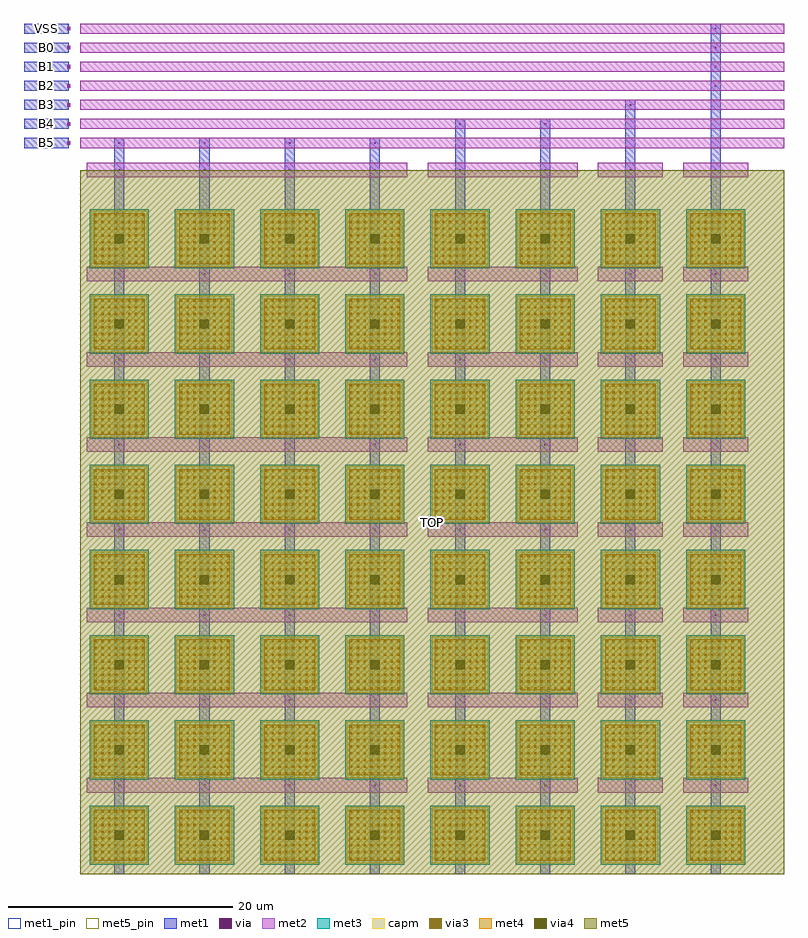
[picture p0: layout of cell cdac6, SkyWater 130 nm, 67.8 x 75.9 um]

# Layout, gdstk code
import gdstk
lib = gdstk.Library(unit=1e-6, precision=1e-09)
def R(c, l, rs):  # rectangles x0, y0, x1, y1
    for r in rs: c.add(gdstk.rectangle(r[:2], r[2:], *l))
def A(c, l, x, y, w, h, nx, ny, dx, dy):  # array of equal rectangles
    R(c, l, [(x+i*dx, y+j*dy, x+i*dx+w, y+j*dy+h) for i in range(nx) for j in range(ny)])
met1_pin = (68, 16)
met1 = (68, 20)
via = (68, 44)
met2 = (69, 20)
met3 = (70, 20)
via3 = (70, 44)
met4 = (71, 20)
via4 = (71, 44)
met5_pin = (72, 16)
met5 = (72, 20)
capm = (89, 44)

cdac6 = lib.new_cell('cdac6')
A(cdac6, met1_pin, -6, 63.8, 4, 0.9, 1, 7, 0, 1.7)
A(cdac6, met1, 2.05, -1, 0.9, 65.7, 4, 1, 7.6, 0)
A(cdac6, met1, 2.37, 6.79, 0.26, 0.32, 8, 7, 7.6, 7.6)
A(cdac6, met1, 2.37, 61.69, 0.26, 0.32, 8, 1, 7.6, 0)
A(cdac6, met1, -6, 63.8, 4, 0.9, 1, 7, 0, 1.7)
A(cdac6, met1, -2.13, 64.09, 0.26, 0.32, 1, 7, 0, 1.7)
A(cdac6, met1, 2.37, 64.09, 0.26, 0.32, 4, 1, 7.6, 0)
A(cdac6, met1, 55.57, 69.19, 0.26, 0.32, 1, 4, 0, 1.7)
R(cdac6, met1, [(32.45,-1,33.35,66.4), (40.05,-1,40.95,66.4), (47.65,-1,48.55,68.1), (55.25,-1,56.15,69.8), (55.25,-1,56.15,71.5), (55.25,-1,56.15,73.2), (55.25,-1,56.15,74.9), (32.77,65.79,33.03,66.11), (40.37,65.79,40.63,66.11), (47.97,67.49,48.23,67.81)])
A(cdac6, via, 2.425, 6.875, 0.15, 0.15, 8, 7, 7.6, 7.6)
A(cdac6, via, 2.425, 61.775, 0.15, 0.15, 8, 1, 7.6, 0)
A(cdac6, via, -2.075, 64.175, 0.15, 0.15, 1, 7, 0, 1.7)
A(cdac6, via, 2.425, 64.175, 0.15, 0.15, 4, 1, 7.6, 0)
A(cdac6, via, 55.625, 69.275, 0.15, 0.15, 1, 4, 0, 1.7)
R(cdac6, via, [(32.825,65.875,32.975,66.025), (40.425,65.875,40.575,66.025), (48.025,67.575,48.175,67.725)])
A(cdac6, met2, -0.4, 6.3, 28.6, 1.3, 1, 7, 0, 7.6)
A(cdac6, met2, 30, 6.3, 13.4, 1.3, 1, 7, 0, 7.6)
A(cdac6, met2, 45.2, 6.3, 5.8, 1.3, 1, 7, 0, 7.6)
A(cdac6, met2, 52.8, 6.3, 5.8, 1.3, 1, 7, 0, 7.6)
A(cdac6, met2, 2.37, 6.79, 0.26, 0.32, 8, 7, 7.6, 7.6)
A(cdac6, met2, 2.37, 61.69, 0.26, 0.32, 8, 1, 7.6, 0)
A(cdac6, met2, -1, 63.8, 62.8, 0.9, 1, 7, 0, 1.7)
A(cdac6, met2, -2.13, 64.09, 0.26, 0.32, 1, 7, 0, 1.7)
A(cdac6, met2, 2.37, 64.09, 0.26, 0.32, 4, 1, 7.6, 0)
A(cdac6, met2, 55.57, 69.19, 0.26, 0.32, 1, 4, 0, 1.7)
R(cdac6, met2, [(-0.4,61.2,28.2,62.5), (30,61.2,43.4,62.5), (45.2,61.2,51,62.5), (52.8,61.2,58.6,62.5), (32.77,65.79,33.03,66.11), (40.37,65.79,40.63,66.11), (47.97,67.49,48.23,67.81)])
A(cdac6, met3, -0.14, -0.14, 5.28, 5.28, 8, 8, 7.6, 7.6)
A(cdac6, via3, 0.3, 0.3, 0.2, 0.2, 8, 8, 0.6, 0.6)
A(cdac6, via3, 7.9, 0.3, 0.2, 0.2, 8, 8, 0.6, 0.6)
A(cdac6, via3, 15.5, 0.3, 0.2, 0.2, 8, 8, 0.6, 0.6)
A(cdac6, via3, 23.1, 0.3, 0.2, 0.2, 8, 8, 0.6, 0.6)
A(cdac6, via3, 30.7, 0.3, 0.2, 0.2, 8, 8, 0.6, 0.6)
A(cdac6, via3, 38.3, 0.3, 0.2, 0.2, 8, 8, 0.6, 0.6)
A(cdac6, via3, 45.9, 0.3, 0.2, 0.2, 8, 8, 0.6, 0.6)
A(cdac6, via3, 53.5, 0.3, 0.2, 0.2, 8, 8, 0.6, 0.6)
A(cdac6, via3, 0.3, 7.9, 0.2, 0.2, 8, 8, 0.6, 0.6)
A(cdac6, via3, 7.9, 7.9, 0.2, 0.2, 8, 8, 0.6, 0.6)
A(cdac6, via3, 15.5, 7.9, 0.2, 0.2, 8, 8, 0.6, 0.6)
A(cdac6, via3, 23.1, 7.9, 0.2, 0.2, 8, 8, 0.6, 0.6)
A(cdac6, via3, 30.7, 7.9, 0.2, 0.2, 8, 8, 0.6, 0.6)
A(cdac6, via3, 38.3, 7.9, 0.2, 0.2, 8, 8, 0.6, 0.6)
A(cdac6, via3, 45.9, 7.9, 0.2, 0.2, 8, 8, 0.6, 0.6)
A(cdac6, via3, 53.5, 7.9, 0.2, 0.2, 8, 8, 0.6, 0.6)
A(cdac6, via3, 0.3, 15.5, 0.2, 0.2, 8, 8, 0.6, 0.6)
A(cdac6, via3, 7.9, 15.5, 0.2, 0.2, 8, 8, 0.6, 0.6)
A(cdac6, via3, 15.5, 15.5, 0.2, 0.2, 8, 8, 0.6, 0.6)
A(cdac6, via3, 23.1, 15.5, 0.2, 0.2, 8, 8, 0.6, 0.6)
A(cdac6, via3, 30.7, 15.5, 0.2, 0.2, 8, 8, 0.6, 0.6)
A(cdac6, via3, 38.3, 15.5, 0.2, 0.2, 8, 8, 0.6, 0.6)
A(cdac6, via3, 45.9, 15.5, 0.2, 0.2, 8, 8, 0.6, 0.6)
A(cdac6, via3, 53.5, 15.5, 0.2, 0.2, 8, 8, 0.6, 0.6)
A(cdac6, via3, 0.3, 23.1, 0.2, 0.2, 8, 8, 0.6, 0.6)
A(cdac6, via3, 7.9, 23.1, 0.2, 0.2, 8, 8, 0.6, 0.6)
A(cdac6, via3, 15.5, 23.1, 0.2, 0.2, 8, 8, 0.6, 0.6)
A(cdac6, via3, 23.1, 23.1, 0.2, 0.2, 8, 8, 0.6, 0.6)
A(cdac6, via3, 30.7, 23.1, 0.2, 0.2, 8, 8, 0.6, 0.6)
A(cdac6, via3, 38.3, 23.1, 0.2, 0.2, 8, 8, 0.6, 0.6)
A(cdac6, via3, 45.9, 23.1, 0.2, 0.2, 8, 8, 0.6, 0.6)
A(cdac6, via3, 53.5, 23.1, 0.2, 0.2, 8, 8, 0.6, 0.6)
A(cdac6, via3, 0.3, 30.7, 0.2, 0.2, 8, 8, 0.6, 0.6)
A(cdac6, via3, 7.9, 30.7, 0.2, 0.2, 8, 8, 0.6, 0.6)
A(cdac6, via3, 15.5, 30.7, 0.2, 0.2, 8, 8, 0.6, 0.6)
A(cdac6, via3, 23.1, 30.7, 0.2, 0.2, 8, 8, 0.6, 0.6)
A(cdac6, via3, 30.7, 30.7, 0.2, 0.2, 8, 8, 0.6, 0.6)
A(cdac6, via3, 38.3, 30.7, 0.2, 0.2, 8, 8, 0.6, 0.6)
A(cdac6, via3, 45.9, 30.7, 0.2, 0.2, 8, 8, 0.6, 0.6)
A(cdac6, via3, 53.5, 30.7, 0.2, 0.2, 8, 8, 0.6, 0.6)
A(cdac6, via3, 0.3, 38.3, 0.2, 0.2, 8, 8, 0.6, 0.6)
A(cdac6, via3, 7.9, 38.3, 0.2, 0.2, 8, 8, 0.6, 0.6)
A(cdac6, via3, 15.5, 38.3, 0.2, 0.2, 8, 8, 0.6, 0.6)
A(cdac6, via3, 23.1, 38.3, 0.2, 0.2, 8, 8, 0.6, 0.6)
A(cdac6, via3, 30.7, 38.3, 0.2, 0.2, 8, 8, 0.6, 0.6)
A(cdac6, via3, 38.3, 38.3, 0.2, 0.2, 8, 8, 0.6, 0.6)
A(cdac6, via3, 45.9, 38.3, 0.2, 0.2, 8, 8, 0.6, 0.6)
A(cdac6, via3, 53.5, 38.3, 0.2, 0.2, 8, 8, 0.6, 0.6)
A(cdac6, via3, 0.3, 45.9, 0.2, 0.2, 8, 8, 0.6, 0.6)
A(cdac6, via3, 7.9, 45.9, 0.2, 0.2, 8, 8, 0.6, 0.6)
A(cdac6, via3, 15.5, 45.9, 0.2, 0.2, 8, 8, 0.6, 0.6)
A(cdac6, via3, 23.1, 45.9, 0.2, 0.2, 8, 8, 0.6, 0.6)
A(cdac6, via3, 30.7, 45.9, 0.2, 0.2, 8, 8, 0.6, 0.6)
A(cdac6, via3, 38.3, 45.9, 0.2, 0.2, 8, 8, 0.6, 0.6)
A(cdac6, via3, 45.9, 45.9, 0.2, 0.2, 8, 8, 0.6, 0.6)
A(cdac6, via3, 53.5, 45.9, 0.2, 0.2, 8, 8, 0.6, 0.6)
A(cdac6, via3, 0.3, 53.5, 0.2, 0.2, 8, 8, 0.6, 0.6)
A(cdac6, via3, 7.9, 53.5, 0.2, 0.2, 8, 8, 0.6, 0.6)
A(cdac6, via3, 15.5, 53.5, 0.2, 0.2, 8, 8, 0.6, 0.6)
A(cdac6, via3, 23.1, 53.5, 0.2, 0.2, 8, 8, 0.6, 0.6)
A(cdac6, via3, 30.7, 53.5, 0.2, 0.2, 8, 8, 0.6, 0.6)
A(cdac6, via3, 38.3, 53.5, 0.2, 0.2, 8, 8, 0.6, 0.6)
A(cdac6, via3, 45.9, 53.5, 0.2, 0.2, 8, 8, 0.6, 0.6)
A(cdac6, via3, 53.5, 53.5, 0.2, 0.2, 8, 8, 0.6, 0.6)
A(cdac6, met4, 0.235, 0.235, 4.53, 4.53, 8, 8, 7.6, 7.6)
A(cdac6, met4, 1.91, 1.91, 1.18, 1.18, 8, 8, 7.6, 7.6)
A(cdac6, via4, 2.1, 2.1, 0.8, 0.8, 8, 8, 7.6, 7.6)
R(cdac6, met5_pin, [(-1,-1,61.8,61.8), (-1,-1,61.8,61.8)])
A(cdac6, met5, 1.7, 1.25, 1.6, 2.5, 8, 8, 7.6, 7.6)
R(cdac6, met5, [(-1,-1,61.8,61.8)])
A(cdac6, capm, 0, 0, 5, 5, 8, 8, 7.6, 7.6)
cdac6.add(gdstk.Label('TOP', (30.4,30.4), layer=72, texttype=16))
cdac6.add(gdstk.Label('TOP', (30.4,30.4), layer=72, texttype=16))
cdac6.add(gdstk.Label('TOP', (30.4,30.4), layer=72, texttype=5))
cdac6.add(gdstk.Label('TOP', (30.4,30.4), layer=72, texttype=5))
cdac6.add(gdstk.Label('B5', (-4,64.25), layer=68, texttype=16))
cdac6.add(gdstk.Label('B4', (-4,65.95), layer=68, texttype=16))
cdac6.add(gdstk.Label('B3', (-4,67.65), layer=68, texttype=16))
cdac6.add(gdstk.Label('B2', (-4,69.35), layer=68, texttype=16))
cdac6.add(gdstk.Label('B1', (-4,71.05), layer=68, texttype=16))
cdac6.add(gdstk.Label('B0', (-4,72.75), layer=68, texttype=16))
cdac6.add(gdstk.Label('VSS', (-4,74.45), layer=68, texttype=16))
cdac6.add(gdstk.Label('B5', (-4,64.25), layer=68, texttype=5))
cdac6.add(gdstk.Label('B4', (-4,65.95), layer=68, texttype=5))
cdac6.add(gdstk.Label('B3', (-4,67.65), layer=68, texttype=5))
cdac6.add(gdstk.Label('B2', (-4,69.35), layer=68, texttype=5))
cdac6.add(gdstk.Label('B1', (-4,71.05), layer=68, texttype=5))
cdac6.add(gdstk.Label('B0', (-4,72.75), layer=68, texttype=5))
cdac6.add(gdstk.Label('VSS', (-4,74.45), layer=68, texttype=5))

lib.write_gds('cdac6.gds')
